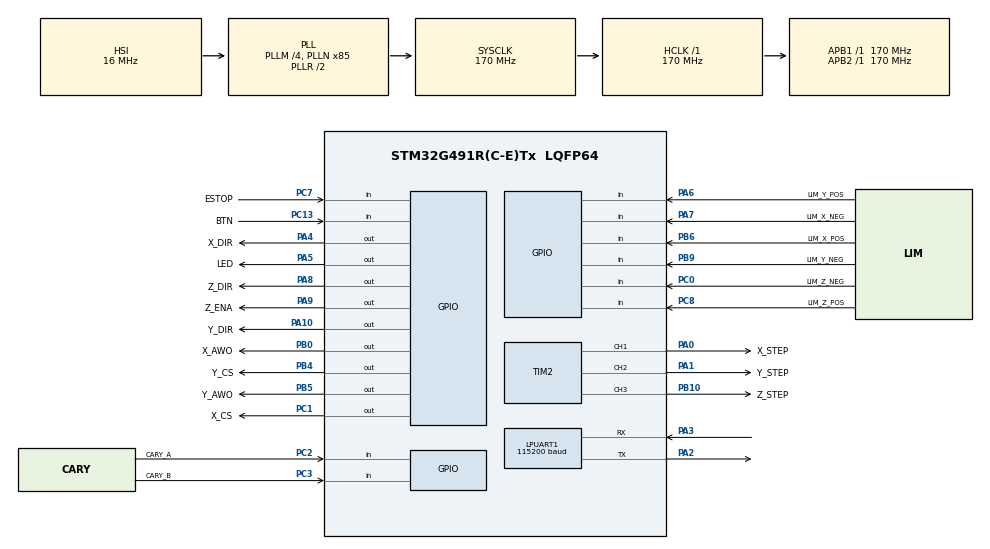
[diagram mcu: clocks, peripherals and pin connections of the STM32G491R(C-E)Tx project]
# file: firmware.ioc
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LPUART1.BaudRate=115200
Mcu.Family=STM32G4
Mcu.Name=STM32G491R(C-E)Tx
Mcu.Package=LQFP64
NVIC.LPUART1_IRQn=true\:2\:0\:true\:false\:true\:true\:true\:true
NVIC.PriorityGroup=NVIC_PRIORITYGROUP_4
NVIC.TIM2_IRQn=true\:0\:0\:false\:false\:true\:true\:true\:true
NVIC.TIM6_DAC_IRQn=true\:1\:0\:true\:false\:true\:true\:true\:true
PA0.GPIO_Label=X_STEP
PA0.Signal=S_TIM2_CH1
PA1.GPIO_Label=Y_STEP
PA1.Signal=S_TIM2_CH2
PA10.GPIO_Label=Y_DIR
PA10.Signal=GPIO_Output
PA13.GPIO_Label=T_SWDIO
PA13.Signal=SYS_JTMS-SWDIO
PA14.GPIO_Label=T_SWCLK
PA14.Signal=SYS_JTCK-SWCLK
PA2.Mode=Asynchronous
PA2.Signal=LPUART1_TX
PA3.Mode=Asynchronous
PA3.Signal=LPUART1_RX
PA4.GPIO_Label=X_DIR
PA4.Signal=GPIO_Output
PA5.GPIO_Label=LED
PA5.Signal=GPIO_Output
PA6.GPIO_Label=LIM_Y_POS
PA6.GPIO_PuPd=GPIO_PULLUP
PA6.Signal=GPIO_Input
PA7.GPIO_Label=LIM_X_NEG
PA7.GPIO_PuPd=GPIO_PULLUP
PA7.Signal=GPIO_Input
PA8.GPIO_Label=Z_DIR
PA8.Signal=GPIO_Output
PA9.GPIO_Label=Z_ENA
PA9.Signal=GPIO_Output
PB0.GPIO_Label=X_AWO
PB0.Signal=GPIO_Output
PB10.GPIO_Label=Z_STEP
PB10.Signal=S_TIM2_CH3
PB3.GPIO_Label=T_SWO
PB3.Signal=SYS_JTDO-SWO
PB4.GPIO_Label=Y_CS
PB4.Signal=GPIO_Output
PB5.GPIO_Label=Y_AWO
PB5.Signal=GPIO_Output
PB6.GPIO_Label=LIM_X_POS
PB6.GPIO_PuPd=GPIO_PULLUP
PB6.Signal=GPIO_Input
PB9.GPIO_Label=LIM_Y_NEG
PB9.GPIO_PuPd=GPIO_PULLUP
PB9.Signal=GPIO_Input
PC0.GPIO_Label=LIM_Z_NEG
PC0.GPIO_PuPd=GPIO_PULLUP
PC0.Signal=GPIO_Input
PC1.GPIO_Label=X_CS
PC1.Signal=GPIO_Output
PC13.GPIO_Label=BTN
PC13.Signal=GPIO_Input
PC14-OSC32_IN.GPIO_Label=RCC_OSC32_IN
PC14-OSC32_IN.Signal=RCC_OSC32_IN
PC15-OSC32_OUT.GPIO_Label=RCC_OSC32_OUT
PC15-OSC32_OUT.Signal=RCC_OSC32_OUT
PC2.GPIO_Label=CARY_A
PC2.GPIO_PuPd=GPIO_PULLUP
PC2.Signal=GPIO_Input
PC3.GPIO_Label=CARY_B
PC3.GPIO_PuPd=GPIO_PULLUP
PC3.Signal=GPIO_Input
PC7.GPIO_Label=ESTOP
PC7.GPIO_PuPd=GPIO_PULLUP
PC7.Signal=GPIO_Input
PC8.GPIO_Label=LIM_Z_POS
PC8.GPIO_PuPd=GPIO_PULLUP
PC8.Signal=GPIO_Input
PF0-OSC_IN.GPIO_Label=RCC_OSC_IN
PF0-OSC_IN.Signal=RCC_OSC_IN
PF1-OSC_OUT.GPIO_Label=RCC_OSC_OUT
PF1-OSC_OUT.Signal=RCC_OSC_OUT
ProjectManager.HeapSize=0x200
ProjectManager.StackSize=0x400
ProjectManager.TargetToolchain=CMake
RCC.ADC12Freq_Value=170000000
RCC.ADC345Freq_Value=170000000
RCC.AHBFreq_Value=170000000
RCC.APB1Freq_Value=170000000
RCC.APB1TimFreq_Value=170000000
RCC.APB2Freq_Value=170000000
RCC.APB2TimFreq_Value=170000000
RCC.CortexFreq_Value=170000000
RCC.EXTERNAL_CLOCK_VALUE=12288000
RCC.HCLKFreq_Value=170000000
RCC.HSE_VALUE=24000000
RCC.HSI48_VALUE=48000000
RCC.HSI_VALUE=16000000
RCC.LSE_VALUE=32768
RCC.PLLM=RCC_PLLM_DIV4
RCC.PLLN=85
RCC.RTCClockSelection=RCC_RTCCLKSOURCE_LSE
RCC.SYSCLKFreq_VALUE=170000000
RCC.SYSCLKSource=RCC_SYSCLKSOURCE_PLLCLK
RCC.USBFreq_Value=48000000
RCC.VCOOutputFreq_Value=340000000
SH.S_TIM2_CH1.0=TIM2_CH1,Output Compare1 CH1
SH.S_TIM2_CH2.0=TIM2_CH2,Output Compare2 CH2
SH.S_TIM2_CH3.0=TIM2_CH3,Output Compare3 CH3
TIM2.Channel-Output\ Compare1\ CH1=TIM_CHANNEL_1
TIM2.Channel-Output\ Compare2\ CH2=TIM_CHANNEL_2
TIM2.Channel-Output\ Compare3\ CH3=TIM_CHANNEL_3
TIM2.OCMode_1=TIM_OCMODE_TOGGLE
TIM2.OCMode_2=TIM_OCMODE_TOGGLE
TIM2.OCMode_3=TIM_OCMODE_TOGGLE
TIM6.PeriodNoDither=999
TIM6.Prescaler=169
VP_SYS_VS_DBSignals.Mode=DisableDeadBatterySignals
VP_TIM2_VS_ClockSourceINT.Mode=Internal
VP_TIM6_VS_ClockSourceINT.Mode=Enable_Timer
board=NUCLEO-G491RE

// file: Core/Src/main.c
/* USER CODE BEGIN Header */
/**
  ******************************************************************************
  * @file           : main.c
  * @brief          : Main program body
  ******************************************************************************
  * @attention
  *
  * Copyright (c) 2026 STMicroelectronics.
  * All rights reserved.
  *
  * This software is licensed under terms that can be found in the LICENSE file
  * in the root directory of this software component.
  * If no LICENSE file comes with this software, it is provided AS-IS.
  *
  ******************************************************************************
  */
/* USER CODE END Header */
#include "main.h"

/* USER CODE BEGIN Includes */
#include "motion.h"
#include "protocol.h"
/* USER CODE END Includes */

UART_HandleTypeDef hlpuart1;

TIM_HandleTypeDef htim2;
TIM_HandleTypeDef htim6;

void SystemClock_Config(void);
static void MX_GPIO_Init(void);
static void MX_LPUART1_UART_Init(void);
static void MX_TIM2_Init(void);
static void MX_TIM6_Init(void);

int main(void)
{

  /* MCU Configuration--------------------------------------------------------*/

  /* Reset of all peripherals, Initializes the Flash interface and the Systick. */
  HAL_Init();

  /* Configure the system clock */
  SystemClock_Config();

  /* Initialize all configured peripherals */
  MX_GPIO_Init();
  MX_LPUART1_UART_Init();
  MX_TIM2_Init();
  MX_TIM6_Init();
  /* USER CODE BEGIN 2 */
  motion_init(&htim2);
  protocol_init(&hlpuart1);
  HAL_TIM_Base_Start_IT(&htim6); /* 1 ms control tick */
  /* USER CODE END 2 */

  /* Infinite loop */
  /* USER CODE BEGIN WHILE */
  while (1)
  {
    protocol_poll();
    /* USER CODE END WHILE */

  }
}

void SystemClock_Config(void)
{
  RCC_OscInitTypeDef RCC_OscInitStruct = {0};
  RCC_ClkInitTypeDef RCC_ClkInitStruct = {0};

  /** Configure the main internal regulator output voltage
  */
  HAL_PWREx_ControlVoltageScaling(PWR_REGULATOR_VOLTAGE_SCALE1_BOOST);

  /** Initializes the RCC Oscillators according to the specified parameters
  * in the RCC_OscInitTypeDef structure.
  */
  RCC_OscInitStruct.OscillatorType = RCC_OSCILLATORTYPE_HSI;
  RCC_OscInitStruct.HSIState = RCC_HSI_ON;
  RCC_OscInitStruct.HSICalibrationValue = RCC_HSICALIBRATION_DEFAULT;
  RCC_OscInitStruct.PLL.PLLState = RCC_PLL_ON;
  RCC_OscInitStruct.PLL.PLLSource = RCC_PLLSOURCE_HSI;
  RCC_OscInitStruct.PLL.PLLM = RCC_PLLM_DIV4;
  RCC_OscInitStruct.PLL.PLLN = 85;
  RCC_OscInitStruct.PLL.PLLP = RCC_PLLP_DIV2;
  RCC_OscInitStruct.PLL.PLLQ = RCC_PLLQ_DIV2;
  RCC_OscInitStruct.PLL.PLLR = RCC_PLLR_DIV2;
  if (HAL_RCC_OscConfig(&RCC_OscInitStruct) != HAL_OK)
  {
    Error_Handler();
  }

  /** Initializes the CPU, AHB and APB buses clocks
  */
  RCC_ClkInitStruct.ClockType = RCC_CLOCKTYPE_HCLK|RCC_CLOCKTYPE_SYSCLK
                              |RCC_CLOCKTYPE_PCLK1|RCC_CLOCKTYPE_PCLK2;
  RCC_ClkInitStruct.SYSCLKSource = RCC_SYSCLKSOURCE_PLLCLK;
  RCC_ClkInitStruct.AHBCLKDivider = RCC_SYSCLK_DIV1;
  RCC_ClkInitStruct.APB1CLKDivider = RCC_HCLK_DIV1;
  RCC_ClkInitStruct.APB2CLKDivider = RCC_HCLK_DIV1;

  if (HAL_RCC_ClockConfig(&RCC_ClkInitStruct, FLASH_LATENCY_4) != HAL_OK)
  {
    Error_Handler();
  }
}

static void MX_LPUART1_UART_Init(void)
{

  hlpuart1.Instance = LPUART1;
  hlpuart1.Init.BaudRate = 115200;
  hlpuart1.Init.WordLength = UART_WORDLENGTH_8B;
  hlpuart1.Init.StopBits = UART_STOPBITS_1;
  hlpuart1.Init.Parity = UART_PARITY_NONE;
  hlpuart1.Init.Mode = UART_MODE_TX_RX;
  hlpuart1.Init.HwFlowCtl = UART_HWCONTROL_NONE;
  hlpuart1.Init.OneBitSampling = UART_ONE_BIT_SAMPLE_DISABLE;
  hlpuart1.Init.ClockPrescaler = UART_PRESCALER_DIV1;
  hlpuart1.AdvancedInit.AdvFeatureInit = UART_ADVFEATURE_NO_INIT;
  if (HAL_UART_Init(&hlpuart1) != HAL_OK)
  {
    Error_Handler();
  }
  if (HAL_UARTEx_SetTxFifoThreshold(&hlpuart1, UART_TXFIFO_THRESHOLD_1_8) != HAL_OK)
  {
    Error_Handler();
  }
  if (HAL_UARTEx_SetRxFifoThreshold(&hlpuart1, UART_RXFIFO_THRESHOLD_1_8) != HAL_OK)
  {
    Error_Handler();
  }
  if (HAL_UARTEx_DisableFifoMode(&hlpuart1) != HAL_OK)
  {
    Error_Handler();
  }

}

static void MX_TIM2_Init(void)
{

  TIM_ClockConfigTypeDef sClockSourceConfig = {0};
  TIM_MasterConfigTypeDef sMasterConfig = {0};
  TIM_OC_InitTypeDef sConfigOC = {0};

  htim2.Instance = TIM2;
  htim2.Init.Prescaler = 0;
  htim2.Init.CounterMode = TIM_COUNTERMODE_UP;
  htim2.Init.Period = 4294967295;
  htim2.Init.ClockDivision = TIM_CLOCKDIVISION_DIV1;
  htim2.Init.AutoReloadPreload = TIM_AUTORELOAD_PRELOAD_DISABLE;
  if (HAL_TIM_Base_Init(&htim2) != HAL_OK)
  {
    Error_Handler();
  }
  sClockSourceConfig.ClockSource = TIM_CLOCKSOURCE_INTERNAL;
  if (HAL_TIM_ConfigClockSource(&htim2, &sClockSourceConfig) != HAL_OK)
  {
    Error_Handler();
  }
  if (HAL_TIM_OC_Init(&htim2) != HAL_OK)
  {
    Error_Handler();
  }
  sMasterConfig.MasterOutputTrigger = TIM_TRGO_RESET;
  sMasterConfig.MasterSlaveMode = TIM_MASTERSLAVEMODE_DISABLE;
  if (HAL_TIMEx_MasterConfigSynchronization(&htim2, &sMasterConfig) != HAL_OK)
  {
    Error_Handler();
  }
  sConfigOC.OCMode = TIM_OCMODE_TOGGLE;
  sConfigOC.Pulse = 0;
  sConfigOC.OCPolarity = TIM_OCPOLARITY_HIGH;
  sConfigOC.OCFastMode = TIM_OCFAST_DISABLE;
  if (HAL_TIM_OC_ConfigChannel(&htim2, &sConfigOC, TIM_CHANNEL_1) != HAL_OK)
  {
    Error_Handler();
  }
  if (HAL_TIM_OC_ConfigChannel(&htim2, &sConfigOC, TIM_CHANNEL_2) != HAL_OK)
  {
    Error_Handler();
  }
  if (HAL_TIM_OC_ConfigChannel(&htim2, &sConfigOC, TIM_CHANNEL_3) != HAL_OK)
  {
    Error_Handler();
  }
  HAL_TIM_MspPostInit(&htim2);

}

static void MX_TIM6_Init(void)
{

  TIM_MasterConfigTypeDef sMasterConfig = {0};

  htim6.Instance = TIM6;
  htim6.Init.Prescaler = 169;
  htim6.Init.CounterMode = TIM_COUNTERMODE_UP;
  htim6.Init.Period = 999;
  htim6.Init.AutoReloadPreload = TIM_AUTORELOAD_PRELOAD_DISABLE;
  if (HAL_TIM_Base_Init(&htim6) != HAL_OK)
  {
    Error_Handler();
  }
  sMasterConfig.MasterOutputTrigger = TIM_TRGO_RESET;
  sMasterConfig.MasterSlaveMode = TIM_MASTERSLAVEMODE_DISABLE;
  if (HAL_TIMEx_MasterConfigSynchronization(&htim6, &sMasterConfig) != HAL_OK)
  {
    Error_Handler();
  }

}

static void MX_GPIO_Init(void)
{
  GPIO_InitTypeDef GPIO_InitStruct = {0};

  /* GPIO Ports Clock Enable */
  __HAL_RCC_GPIOC_CLK_ENABLE();
  __HAL_RCC_GPIOF_CLK_ENABLE();
  __HAL_RCC_GPIOA_CLK_ENABLE();
  __HAL_RCC_GPIOB_CLK_ENABLE();

  /*Configure GPIO pin Output Level */
  HAL_GPIO_WritePin(X_CS_GPIO_Port, X_CS_Pin, GPIO_PIN_RESET);

  /*Configure GPIO pin Output Level */
  HAL_GPIO_WritePin(GPIOA, X_DIR_Pin|LED_Pin|Z_DIR_Pin|Z_ENA_Pin
                          |Y_DIR_Pin, GPIO_PIN_RESET);

  /*Configure GPIO pin Output Level */
  HAL_GPIO_WritePin(GPIOB, X_AWO_Pin|Y_CS_Pin|Y_AWO_Pin, GPIO_PIN_RESET);

  /*Configure GPIO pin : BTN_Pin */
  GPIO_InitStruct.Pin = BTN_Pin;
  GPIO_InitStruct.Mode = GPIO_MODE_INPUT;
  GPIO_InitStruct.Pull = GPIO_NOPULL;
  HAL_GPIO_Init(BTN_GPIO_Port, &GPIO_InitStruct);

  /*Configure GPIO pins : LIM_Z_NEG_Pin CARY_A_Pin CARY_B_Pin ESTOP_Pin
                           LIM_Z_POS_Pin */
  GPIO_InitStruct.Pin = LIM_Z_NEG_Pin|CARY_A_Pin|CARY_B_Pin|ESTOP_Pin
                          |LIM_Z_POS_Pin;
  GPIO_InitStruct.Mode = GPIO_MODE_INPUT;
  GPIO_InitStruct.Pull = GPIO_PULLUP;
  HAL_GPIO_Init(GPIOC, &GPIO_InitStruct);

  /*Configure GPIO pin : X_CS_Pin */
  GPIO_InitStruct.Pin = X_CS_Pin;
  GPIO_InitStruct.Mode = GPIO_MODE_OUTPUT_PP;
  GPIO_InitStruct.Pull = GPIO_NOPULL;
  GPIO_InitStruct.Speed = GPIO_SPEED_FREQ_LOW;
  HAL_GPIO_Init(X_CS_GPIO_Port, &GPIO_InitStruct);

  /*Configure GPIO pins : X_DIR_Pin LED_Pin Z_DIR_Pin Z_ENA_Pin
                           Y_DIR_Pin */
  GPIO_InitStruct.Pin = X_DIR_Pin|LED_Pin|Z_DIR_Pin|Z_ENA_Pin
                          |Y_DIR_Pin;
  GPIO_InitStruct.Mode = GPIO_MODE_OUTPUT_PP;
  GPIO_InitStruct.Pull = GPIO_NOPULL;
  GPIO_InitStruct.Speed = GPIO_SPEED_FREQ_LOW;
  HAL_GPIO_Init(GPIOA, &GPIO_InitStruct);

  /*Configure GPIO pins : LIM_Y_POS_Pin LIM_X_NEG_Pin */
  GPIO_InitStruct.Pin = LIM_Y_POS_Pin|LIM_X_NEG_Pin;
  GPIO_InitStruct.Mode = GPIO_MODE_INPUT;
  GPIO_InitStruct.Pull = GPIO_PULLUP;
  HAL_GPIO_Init(GPIOA, &GPIO_InitStruct);

  /*Configure GPIO pins : X_AWO_Pin Y_CS_Pin Y_AWO_Pin */
  GPIO_InitStruct.Pin = X_AWO_Pin|Y_CS_Pin|Y_AWO_Pin;
  GPIO_InitStruct.Mode = GPIO_MODE_OUTPUT_PP;
  GPIO_InitStruct.Pull = GPIO_NOPULL;
  GPIO_InitStruct.Speed = GPIO_SPEED_FREQ_LOW;
  HAL_GPIO_Init(GPIOB, &GPIO_InitStruct);

  /*Configure GPIO pins : LIM_X_POS_Pin LIM_Y_NEG_Pin */
  GPIO_InitStruct.Pin = LIM_X_POS_Pin|LIM_Y_NEG_Pin;
  GPIO_InitStruct.Mode = GPIO_MODE_INPUT;
  GPIO_InitStruct.Pull = GPIO_PULLUP;
  HAL_GPIO_Init(GPIOB, &GPIO_InitStruct);

}

/* USER CODE BEGIN 4 */
void HAL_TIM_OC_DelayElapsedCallback(TIM_HandleTypeDef *htim)
{
  motion_on_compare(htim);
}

void HAL_TIM_PeriodElapsedCallback(TIM_HandleTypeDef *htim)
{
  if (htim->Instance == TIM6)
    motion_tick_1ms();
}

void HAL_UART_RxCpltCallback(UART_HandleTypeDef *huart)
{
  protocol_uart_rx_cplt(huart);
}

void HAL_UART_TxCpltCallback(UART_HandleTypeDef *huart)
{
  protocol_uart_tx_cplt(huart);
}

void HAL_UART_ErrorCallback(UART_HandleTypeDef *huart)
{
  protocol_uart_error(huart);
}
/* USER CODE END 4 */

void Error_Handler(void)
{
  __disable_irq();
  while (1)
  {
  }
}
